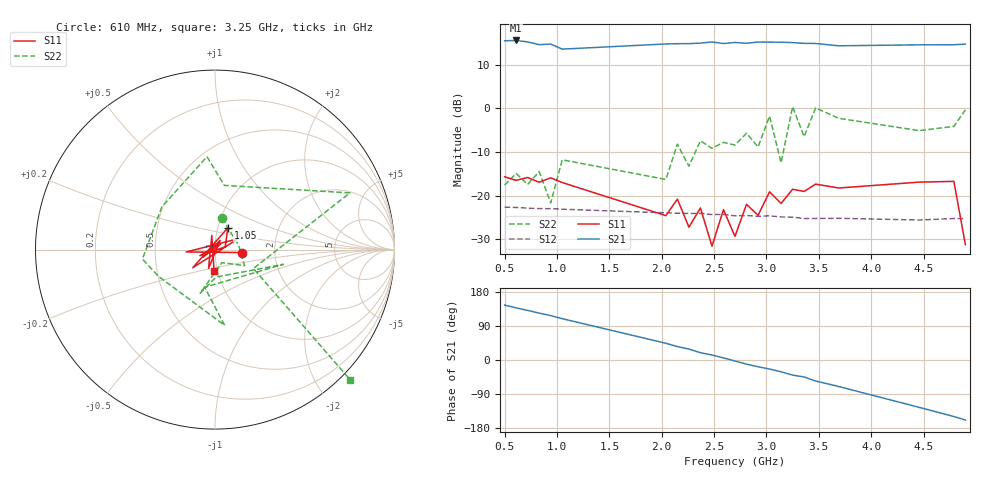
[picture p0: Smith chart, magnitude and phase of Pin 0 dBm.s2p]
! RsaToolbox (C) 2015 Rohde & Schwarz America
! Number of points: 24
! Number of ports: 2
! Balanced ports?: No
# Hz S RI R 50
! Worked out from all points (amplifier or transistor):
!   24 points, 500 MHz to 4.9 GHz, reference 50 ohm
!   highest |S21| = 15.6 dB at 610 MHz (marker M1)
!   |S21| within 3 dB of that: start of sweep to end of sweep
!   unconditionally stable (mu >= 1): start of sweep to 3.005 GHz; 3.046 GHz to 3.22 GHz; 3.826 GHz to 4.82 GHz (the widest 3 of 4)
!   at 940 MHz: K = 1.44, MAG = 15.0 dB, |S12| = -23.0 dB
!   at 2.7 GHz: K = 1.43, MAG = 16.0 dB, |S12| = -24.7 dB
!   at 4.9 GHz: K = 0.24, MSG = 20.0 dB, |S12| = -25.3 dB
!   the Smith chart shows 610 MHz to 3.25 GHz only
!   S11 on the Smith chart (normalised r, x): 610 MHz: 1.35, -0.05; 1.05 GHz: 1.12, +0.28; 3.25 GHz: 0.96, -0.23
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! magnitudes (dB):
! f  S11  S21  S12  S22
! 500 MHz  -15.7  15.6  -22.7  -17.6
! 610 MHz  -16.5  15.6  -22.7  -14.9
! 830 MHz  -17.0  14.7  -23.0  -14.5
! 940 MHz  -15.9  14.8  -23.0  -21.7
! 1.05 GHz  -17.0  13.6  -23.1  -11.8
! 2.04 GHz  -24.6  14.8  -24.0  -16.3
! 2.15 GHz  -20.8  14.9  -24.0  -8.2
! 2.26 GHz  -27.3  14.9  -24.1  -13.3
! 2.37 GHz  -22.9  15.0  -24.1  -7.4
! 2.48 GHz  -31.6  15.3  -24.4  -9.2
! 2.59 GHz  -23.3  14.9  -24.4  -7.8
! 2.7 GHz  -29.4  15.2  -24.7  -8.4
! 2.81 GHz  -22.0  15.0  -24.6  -5.7
! 2.92 GHz  -24.5  15.3  -24.8  -8.8
! 3.03 GHz  -19.2  15.3  -24.7  -1.8
! 3.14 GHz  -21.8  15.2  -24.9  -12.5
! 3.25 GHz  -18.6  15.1  -25.0  0.4
! 3.36 GHz  -19.1  15.0  -25.3  -6.5
! 3.47 GHz  -17.4  14.9  -25.3  0.1
! 4.46 GHz  -16.9  14.6  -25.6  -5.1
! 4.79 GHz  -16.8  14.6  -25.3  -4.1
! 4.9 GHz  -31.3  14.8  -25.3  -0.3
